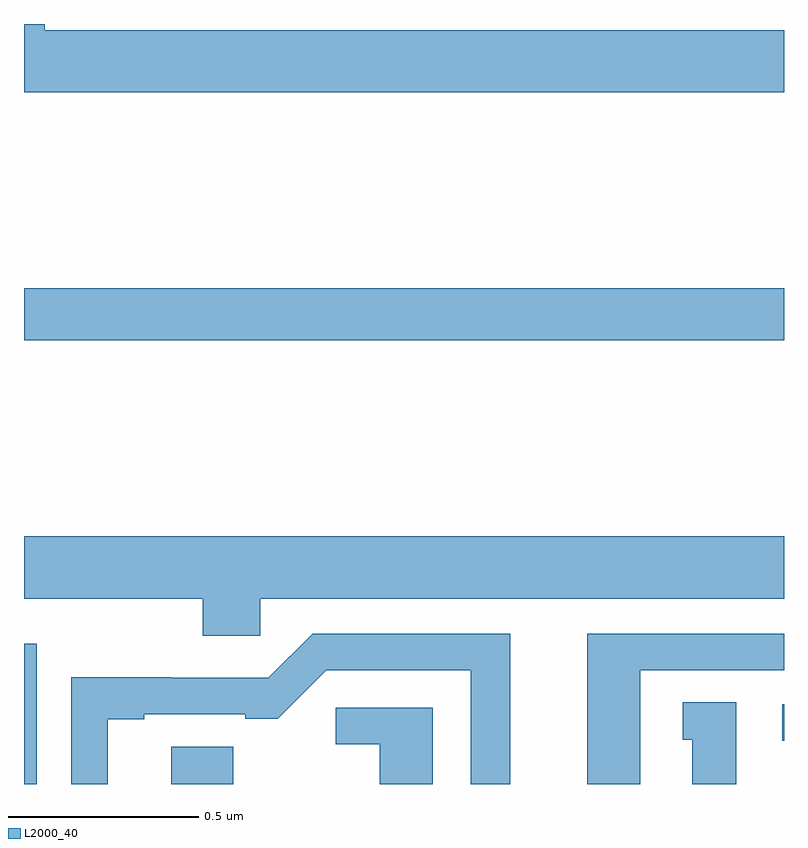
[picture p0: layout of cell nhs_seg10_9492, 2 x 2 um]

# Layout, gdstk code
import gdstk
lib = gdstk.Library(unit=1e-6, precision=1e-09)
def R(c, l, rs):  # rectangles x0, y0, x1, y1
    for r in rs: c.add(gdstk.rectangle(r[:2], r[2:], *l))
def P(c, l, *ps):  # polygons
    for p in ps: c.add(gdstk.Polygon(p, *l))
L2000_40 = (2000, 40)

nhs_seg10_9492 = lib.new_cell('nhs_seg10_9492')
R(nhs_seg10_9492, L2000_40, [(230,1294.5,230.034,1294.869), (230.387,1294.5,230.55,1294.598), (231.996,1294.614,232,1294.71), (230,1295.668,232,1295.804)])
P(nhs_seg10_9492, L2000_40, [(232,1296.484),(230.055,1296.484),(230.055,1296.5),(230,1296.5),(230,1296.32),(232,1296.32)],
  [(230.622,1294.988),(232,1294.988),(232,1295.152),(230,1295.152),(230,1294.988),(230.471,1294.988),(230.471,1294.89),(230.622,1294.89)],
  [(230.221,1294.671),(230.317,1294.671),(230.317,1294.683),(230.582,1294.683),(230.582,1294.672),(230.668,1294.672),(230.796,1294.8),(231.176,1294.8),(231.176,1294.5),(231.28,1294.5),(231.28,1294.896),(230.76,1294.896),(230.643,1294.779),(230.387,1294.779),(230.387,1294.781),(230.124,1294.781),(230.124,1294.5),(230.221,1294.5)],
  [(231.622,1294.8),(232,1294.8),(232,1294.896),(231.482,1294.896),(231.482,1294.5),(231.622,1294.5)],
  [(231.874,1294.715),(231.734,1294.715),(231.734,1294.617),(231.758,1294.617),(231.758,1294.5),(231.874,1294.5)],
  [(231.076,1294.701),(230.82,1294.701),(230.82,1294.604),(230.936,1294.604),(230.936,1294.5),(231.076,1294.5)])

lib.write_gds('nhs_seg10_9492.gds')
